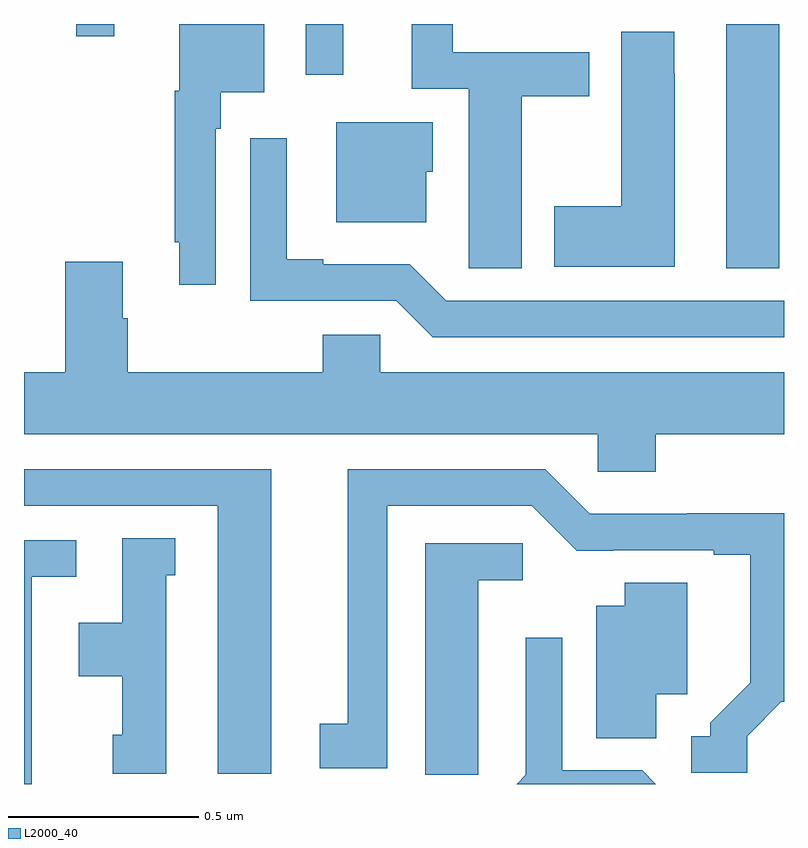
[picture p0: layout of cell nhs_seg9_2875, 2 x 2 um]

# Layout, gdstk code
import gdstk
lib = gdstk.Library(unit=1e-6, precision=1e-09)
def R(c, l, rs):  # rectangles x0, y0, x1, y1
    for r in rs: c.add(gdstk.rectangle(r[:2], r[2:], *l))
def P(c, l, *ps):  # polygons
    for p in ps: c.add(gdstk.Polygon(p, *l))
L2000_40 = (2000, 40)

nhs_seg9_2875 = lib.new_cell('nhs_seg9_2875')
R(nhs_seg9_2875, L2000_40, [(147.848,1196.857,147.988,1197.5), (146.742,1197.366,146.84,1197.5), (146.138,1197.468,146.238,1197.5)])
P(nhs_seg9_2875, L2000_40, [(147.31,1197.31),(147.487,1197.31),(147.487,1197.426),(147.128,1197.426),(147.128,1197.5),(147.02,1197.5),(147.02,1197.33),(147.17,1197.33),(147.17,1196.968),(147.171,1196.968),(147.171,1196.857),(147.31,1196.857)],
  [(146.505,1197.224),(146.518,1197.224),(146.518,1197.32),(146.632,1197.32),(146.632,1197.5),(146.408,1197.5),(146.408,1197.324),(146.397,1197.324),(146.397,1196.926),(146.408,1196.926),(146.408,1196.814),(146.505,1196.814)],
  [(147.712,1197.371),(147.711,1197.371),(147.711,1197.479),(147.572,1197.479),(147.572,1197.021),(147.395,1197.021),(147.395,1196.861),(147.712,1196.861)],
  [(147.058,1197.111),(147.076,1197.111),(147.076,1197.241),(146.822,1197.241),(146.822,1196.978),(147.058,1196.978)],
  [(148,1196.772),(147.111,1196.772),(147.015,1196.868),(146.788,1196.868),(146.788,1196.881),(146.692,1196.881),(146.692,1197.199),(146.595,1197.199),(146.595,1196.772),(146.979,1196.772),(147.075,1196.676),(148,1196.676)],
  [(147.662,1196.42),(148,1196.42),(148,1196.584),(146.937,1196.584),(146.937,1196.682),(146.786,1196.682),(146.786,1196.584),(146.273,1196.584),(146.273,1196.726),(146.26,1196.726),(146.26,1196.875),(146.108,1196.875),(146.108,1196.584),(146,1196.584),(146,1196.42),(147.51,1196.42),(147.51,1196.322),(147.662,1196.322)],
  [(146.65,1196.328),(146,1196.328),(146,1196.232),(146.51,1196.232),(146.51,1195.527),(146.65,1195.527)],
  [(147.903,1195.626),(147.993,1195.716),(148,1195.716),(148,1196.213),(147.745,1196.213),(147.745,1196.211),(147.489,1196.211),(147.372,1196.328),(146.852,1196.328),(146.852,1195.658),(146.778,1195.658),(146.778,1195.542),(146.956,1195.542),(146.956,1196.232),(147.336,1196.232),(147.454,1196.114),(147.55,1196.114),(147.55,1196.115),(147.815,1196.115),(147.815,1196.103),(147.911,1196.103),(147.911,1195.766),(147.806,1195.661),(147.806,1195.626),(147.756,1195.626),(147.756,1195.53),(147.903,1195.53)],
  [(146.374,1196.049),(146.398,1196.049),(146.398,1196.147),(146.258,1196.147),(146.258,1195.924),(146.144,1195.924),(146.144,1195.784),(146.258,1195.784),(146.258,1195.629),(146.234,1195.629),(146.234,1195.527),(146.374,1195.527)],
  [(146.02,1196.046),(146.137,1196.046),(146.137,1196.142),(146,1196.142),(146,1195.5),(146.02,1195.5)],
  [(147.195,1195.633),(147.196,1195.633),(147.196,1196.036),(147.313,1196.036),(147.313,1196.133),(147.056,1196.133),(147.056,1195.525),(147.195,1195.525)],
  [(147.664,1195.736),(147.745,1195.736),(147.745,1196.03),(147.581,1196.03),(147.581,1195.969),(147.506,1195.969),(147.506,1195.621),(147.664,1195.621)],
  [(147.627,1195.536),(147.417,1195.536),(147.417,1195.885),(147.321,1195.885),(147.321,1195.524),(147.297,1195.5),(147.663,1195.5)])

lib.write_gds('nhs_seg9_2875.gds')
